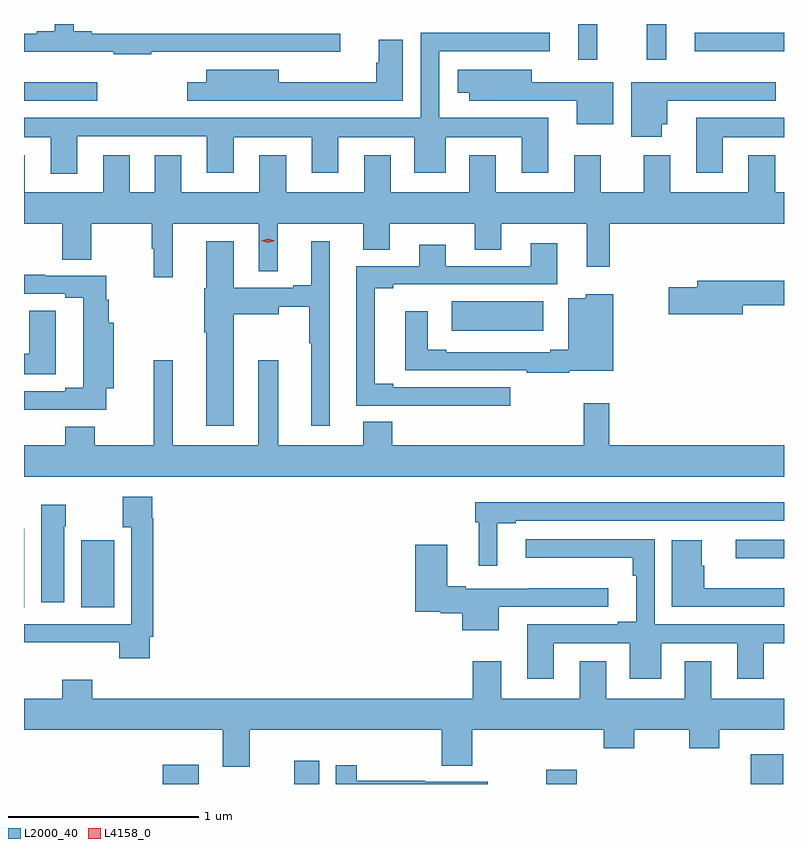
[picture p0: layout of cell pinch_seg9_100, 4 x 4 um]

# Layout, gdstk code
import gdstk
lib = gdstk.Library(unit=1e-6, precision=1e-09)
def R(c, l, rs):  # rectangles x0, y0, x1, y1
    for r in rs: c.add(gdstk.rectangle(r[:2], r[2:], *l))
def P(c, l, *ps):  # polygons
    for p in ps: c.add(gdstk.Polygon(p, *l))
L2000_40 = (2000, 40)
L4158_0 = (4158, 0)

pinch_seg9_100 = lib.new_cell('pinch_seg9_100')
R(pinch_seg9_100, L2000_40, [(1089.967,1189.474,1090.156,1189.576), (1090.658,1189.474,1090.789,1189.597), (1091.984,1189.474,1092.145,1189.549), (1093.062,1189.474,1093.232,1189.63), (1089.236,1190.401,1089.238,1190.818), (1092.981,1190.663,1093.236,1190.76), (1091.487,1191.86,1091.968,1192.015), (1089.236,1193.07,1089.622,1193.167), (1092.152,1193.286,1092.254,1193.474), (1092.514,1193.286,1092.616,1193.474), (1092.765,1193.33,1093.236,1193.427)])
P(pinch_seg9_100, L2000_40, [(1089.905,1193.327),(1090.1,1193.327),(1090.1,1193.328),(1090.672,1193.328),(1090.672,1193.327),(1090.9,1193.327),(1090.9,1193.424),(1089.592,1193.424),(1089.592,1193.437),(1089.497,1193.437),(1089.497,1193.474),(1089.398,1193.474),(1089.398,1193.437),(1089.302,1193.437),(1089.302,1193.424),(1089.236,1193.424),(1089.236,1193.327),(1089.709,1193.327),(1089.709,1193.316),(1089.905,1193.316)],
  [(1089.517,1192.884),(1090.199,1192.884),(1090.199,1192.692),(1090.339,1192.692),(1090.339,1192.879),(1090.751,1192.879),(1090.751,1192.692),(1090.891,1192.692),(1090.891,1192.879),(1091.291,1192.879),(1091.291,1192.692),(1091.455,1192.692),(1091.455,1192.879),(1091.855,1192.879),(1091.855,1192.692),(1091.995,1192.692),(1091.995,1192.98),(1091.422,1192.98),(1091.422,1192.981),(1091.421,1192.981),(1091.421,1193.331),(1092.004,1193.331),(1092.004,1193.427),(1091.325,1193.427),(1091.325,1192.98),(1089.236,1192.98),(1089.236,1192.879),(1089.377,1192.879),(1089.377,1192.686),(1089.517,1192.686)],
  [(1090.472,1193.07),(1091.23,1193.07),(1091.23,1193.392),(1091.102,1193.392),(1091.102,1193.271),(1091.09,1193.271),(1091.09,1193.167),(1090.576,1193.167),(1090.576,1193.233),(1090.196,1193.233),(1090.196,1193.167),(1090.095,1193.167),(1090.095,1193.069),(1090.472,1193.069)],
  [(1092.337,1193.167),(1091.908,1193.167),(1091.908,1193.233),(1091.52,1193.233),(1091.52,1193.111),(1091.579,1193.111),(1091.579,1193.069),(1092.146,1193.069),(1092.146,1192.946),(1092.337,1192.946)],
  [(1092.592,1192.946),(1092.622,1192.946),(1092.622,1193.07),(1093.192,1193.07),(1093.192,1193.167),(1092.431,1193.167),(1092.431,1192.881),(1092.592,1192.881)],
  [(1092.913,1192.879),(1093.236,1192.879),(1093.236,1192.98),(1092.773,1192.98),(1092.773,1192.692),(1092.913,1192.692)],
  [(1090.018,1192.424),(1090.472,1192.424),(1090.472,1192.173),(1090.571,1192.173),(1090.571,1192.424),(1091.021,1192.424),(1091.021,1192.285),(1091.161,1192.285),(1091.161,1192.424),(1091.609,1192.424),(1091.609,1192.285),(1091.749,1192.285),(1091.749,1192.424),(1092.197,1192.424),(1092.197,1192.197),(1092.319,1192.197),(1092.319,1192.424),(1093.236,1192.424),(1093.236,1192.588),(1093.189,1192.588),(1093.189,1192.783),(1093.049,1192.783),(1093.049,1192.588),(1092.637,1192.588),(1092.637,1192.783),(1092.497,1192.783),(1092.497,1192.588),(1092.271,1192.588),(1092.271,1192.783),(1092.131,1192.783),(1092.131,1192.588),(1091.719,1192.588),(1091.719,1192.783),(1091.579,1192.783),(1091.579,1192.588),(1091.167,1192.588),(1091.167,1192.783),(1091.027,1192.783),(1091.027,1192.588),(1090.615,1192.588),(1090.615,1192.783),(1090.475,1192.783),(1090.475,1192.588),(1090.063,1192.588),(1090.063,1192.783),(1089.923,1192.783),(1089.923,1192.588),(1089.793,1192.588),(1089.793,1192.783),(1089.653,1192.783),(1089.653,1192.588),(1089.241,1192.588),(1089.241,1192.783),(1089.236,1192.783),(1089.236,1192.424),(1089.436,1192.424),(1089.436,1192.234),(1089.591,1192.234),(1089.591,1192.424),(1089.909,1192.424),(1089.909,1192.29),(1089.919,1192.29),(1089.919,1192.14),(1090.018,1192.14)],
  [(1090.339,1191.947),(1090.576,1191.947),(1090.576,1191.985),(1090.737,1191.985),(1090.737,1191.793),(1090.748,1191.793),(1090.748,1191.36),(1090.846,1191.36),(1090.846,1192.33),(1090.748,1192.33),(1090.748,1192.099),(1090.652,1192.099),(1090.652,1192.086),(1090.339,1192.086),(1090.339,1192.33),(1090.196,1192.33),(1090.196,1192.083),(1090.184,1192.083),(1090.184,1191.851),(1090.196,1191.851),(1090.196,1191.36),(1090.339,1191.36)],
  [(1091.794,1191.561),(1091.179,1191.561),(1091.179,1191.581),(1091.083,1191.581),(1091.083,1192.084),(1091.179,1192.084),(1091.179,1192.103),(1091.451,1192.103),(1091.451,1192.104),(1092.043,1192.104),(1092.043,1192.321),(1091.903,1192.321),(1091.903,1192.2),(1091.455,1192.2),(1091.455,1192.312),(1091.315,1192.312),(1091.315,1192.2),(1090.985,1192.2),(1090.985,1191.465),(1091.257,1191.465),(1091.257,1191.464),(1091.794,1191.464)],
  [(1089.365,1191.444),(1089.67,1191.444),(1089.67,1191.557),(1089.709,1191.557),(1089.709,1191.901),(1089.683,1191.901),(1089.683,1192.022),(1089.67,1192.022),(1089.67,1192.149),(1089.347,1192.149),(1089.347,1192.154),(1089.236,1192.154),(1089.236,1192.053),(1089.452,1192.053),(1089.452,1192.033),(1089.548,1192.033),(1089.548,1191.56),(1089.452,1191.56),(1089.452,1191.54),(1089.236,1191.54),(1089.236,1191.443),(1089.365,1191.443)],
  [(1093.018,1191.994),(1093.236,1191.994),(1093.236,1192.123),(1092.779,1192.123),(1092.779,1192.089),(1092.63,1192.089),(1092.63,1191.947),(1093.018,1191.947)],
  [(1092.105,1191.65),(1092.337,1191.65),(1092.337,1192.051),(1092.192,1192.051),(1092.192,1192.03),(1092.101,1192.03),(1092.101,1191.76),(1092.005,1191.76),(1092.005,1191.747),(1091.458,1191.747),(1091.458,1191.76),(1091.362,1191.76),(1091.362,1191.961),(1091.243,1191.961),(1091.243,1191.651),(1091.881,1191.651),(1091.881,1191.639),(1092.105,1191.639)],
  [(1089.403,1191.964),(1089.263,1191.964),(1089.263,1191.739),(1089.236,1191.739),(1089.236,1191.63),(1089.403,1191.63)],
  [(1093.236,1191.256),(1092.317,1191.256),(1092.317,1191.478),(1092.182,1191.478),(1092.182,1191.256),(1091.174,1191.256),(1091.174,1191.38),(1091.021,1191.38),(1091.021,1191.256),(1090.573,1191.256),(1090.573,1191.703),(1090.469,1191.703),(1090.469,1191.256),(1090.018,1191.256),(1090.018,1191.703),(1089.919,1191.703),(1089.919,1191.256),(1089.609,1191.256),(1089.609,1191.355),(1089.454,1191.355),(1089.454,1191.256),(1089.236,1191.256),(1089.236,1191.092),(1093.236,1191.092)],
  [(1089.898,1190.248),(1089.917,1190.248),(1089.917,1190.873),(1089.91,1190.873),(1089.91,1190.986),(1089.755,1190.986),(1089.755,1190.826),(1089.801,1190.826),(1089.801,1190.316),(1089.236,1190.316),(1089.236,1190.219),(1089.737,1190.219),(1089.737,1190.136),(1089.898,1190.136)],
  [(1091.728,1190.847),(1091.824,1190.847),(1091.824,1190.859),(1093.236,1190.859),(1093.236,1190.956),(1091.611,1190.956),(1091.611,1190.852),(1091.63,1190.852),(1091.63,1190.622),(1091.728,1190.622)],
  [(1089.448,1190.831),(1089.456,1190.831),(1089.456,1190.944),(1089.326,1190.944),(1089.326,1190.43),(1089.448,1190.43)],
  [(1092.025,1190.215),(1092.425,1190.215),(1092.425,1190.028),(1092.589,1190.028),(1092.589,1190.215),(1092.989,1190.215),(1092.989,1190.028),(1093.129,1190.028),(1093.129,1190.215),(1093.236,1190.215),(1093.236,1190.316),(1092.555,1190.316),(1092.555,1190.763),(1091.877,1190.763),(1091.877,1190.666),(1092.439,1190.666),(1092.439,1190.57),(1092.458,1190.57),(1092.458,1190.329),(1092.362,1190.329),(1092.362,1190.316),(1091.885,1190.316),(1091.885,1190.028),(1092.025,1190.028)],
  [(1093.236,1190.503),(1092.815,1190.503),(1092.815,1190.622),(1092.802,1190.622),(1092.802,1190.758),(1092.644,1190.758),(1092.644,1190.406),(1093.236,1190.406)],
  [(1089.712,1190.654),(1089.711,1190.654),(1089.711,1190.757),(1089.536,1190.757),(1089.536,1190.405),(1089.712,1190.405)],
  [(1091.734,1190.406),(1092.31,1190.406),(1092.31,1190.503),(1091.889,1190.503),(1091.889,1190.502),(1091.56,1190.502),(1091.56,1190.516),(1091.464,1190.516),(1091.464,1190.734),(1091.294,1190.734),(1091.294,1190.381),(1091.429,1190.381),(1091.429,1190.374),(1091.543,1190.374),(1091.543,1190.282),(1091.734,1190.282)],
  [(1090.423,1189.76),(1091.434,1189.76),(1091.434,1189.57),(1091.594,1189.57),(1091.594,1189.76),(1092.287,1189.76),(1092.287,1189.661),(1092.447,1189.661),(1092.447,1189.76),(1092.736,1189.76),(1092.736,1189.661),(1092.896,1189.661),(1092.896,1189.76),(1093.236,1189.76),(1093.236,1189.924),(1092.853,1189.924),(1092.853,1190.119),(1092.713,1190.119),(1092.713,1189.924),(1092.301,1189.924),(1092.301,1190.119),(1092.161,1190.119),(1092.161,1189.924),(1091.749,1189.924),(1091.749,1190.119),(1091.597,1190.119),(1091.597,1189.924),(1089.596,1189.924),(1089.596,1190.023),(1089.436,1190.023),(1089.436,1189.924),(1089.236,1189.924),(1089.236,1189.76),(1090.283,1189.76),(1090.283,1189.566),(1090.423,1189.566)],
  [(1091.676,1189.485),(1091.345,1189.485),(1091.345,1189.49),(1090.987,1189.49),(1090.987,1189.573),(1090.878,1189.573),(1090.878,1189.474),(1091.676,1189.474)])
P(pinch_seg9_100, L4158_0, [(1090.521,1192.323),(1090.485,1192.333),(1090.485,1192.333),(1090.485,1192.333),(1090.521,1192.343),(1090.557,1192.333),(1090.557,1192.333),(1090.557,1192.333)])

lib.write_gds('pinch_seg9_100.gds')
